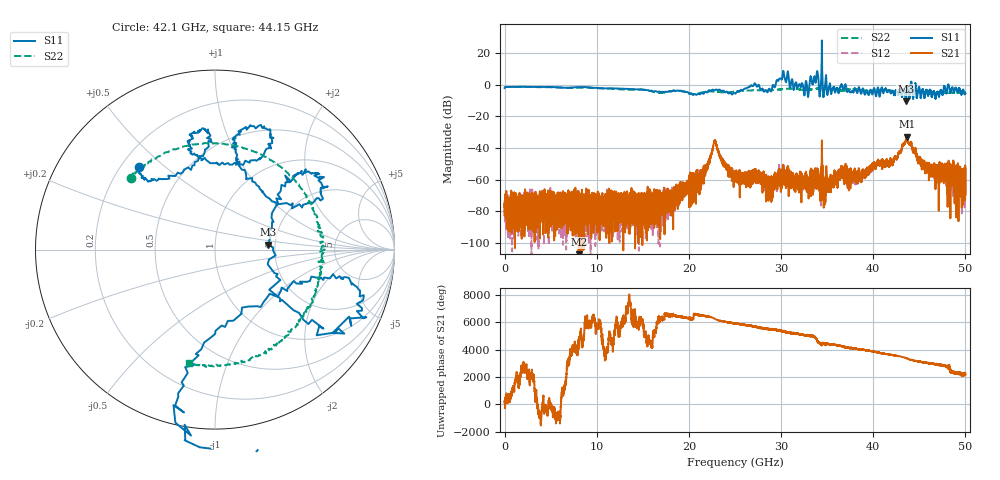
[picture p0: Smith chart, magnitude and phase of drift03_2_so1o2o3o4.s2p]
!Created with skrf (http://scikit-rf.org).
# Hz S RI R 50.0
!freq ReS11 ImS11 ReS21 ImS21 ReS12 ImS12 ReS22 ImS22
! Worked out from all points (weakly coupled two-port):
!   10000 points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, 5.3 MHz to 50 GHz, reference 50 ohm
!   highest |S21| = -32.90 dB at 43.64 GHz (marker M1); lowest = -117.0 dB at 8.045 GHz (marker M2)
!   lowest |S11| = -10.5 dB at 43.53 GHz (marker M3), VSWR 1.85, Z = 92.1 + j5.41 ohm
!   |S11| at or under -10 dB: 43.51465 GHz to 43.51713 GHz (2.478 MHz wide, 0.00569 % of centre); 43.52245 GHz to 43.53363 GHz (11.18 MHz wide, 0.0257 % of centre); 43.54847 GHz to 43.55625 GHz (7.78 MHz wide, 0.0179 % of centre)
!   |S22| runs from -6.0 to -1.3 dB; largest |S21 - S12| = 0.0066
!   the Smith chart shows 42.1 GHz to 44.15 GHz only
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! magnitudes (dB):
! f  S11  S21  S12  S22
! 5.3 MHz  -2.1  -77.3  -72.9  -2.1
! 8.045 GHz  -1.5  -117.0  -81.7  -1.9
! 8.34 GHz  -1.5  -79.2  -87.6  -1.9
! 16.67 GHz  -4.4  -71.2  -75.4  -5.2
! 21.15 GHz  -6.1  -57.1  -60.4  -5.4
! 22.81 GHz  -3.5  -35.5  -35.5  -4.5
! 25.01 GHz  -5.5  -61.5  -57.6  -4.3
! 27.01 GHz  -0.5  -57.5  -58.3  -3.6
! 28.88 GHz  -4.1  -61.1  -62.8  -3.5
! 30.14 GHz  4.2  -53.9  -54.6  -2.8
! 32.74 GHz  2.1  -58.4  -56.5  -3.3
! 33.34 GHz  2.3  -60.3  -56.1  -2.9
! 33.82 GHz  3.7  -61.2  -57.1  -2.6
! 34.92 GHz  3.3  -51.5  -60.6  -2.4
! 36.46 GHz  -0.9  -55.2  -55.6  -3.6
! 38.51 GHz  -2.4  -57.2  -57.9  -3.1
! 41.67 GHz  -3.6  -50.3  -50.4  -3.8
! 43.53 GHz  -10.5  -35.5  -35.4  -4.2
! 43.64 GHz  -2.5  -32.9  -33.8  -4.0
! 45.84 GHz  -4.1  -52.3  -51.4  -5.4
! 49.5 GHz  -5.3  -56.3  -57.0  -5.1
! 50 GHz  -5.5  -53.2  -56.1  -5.0
